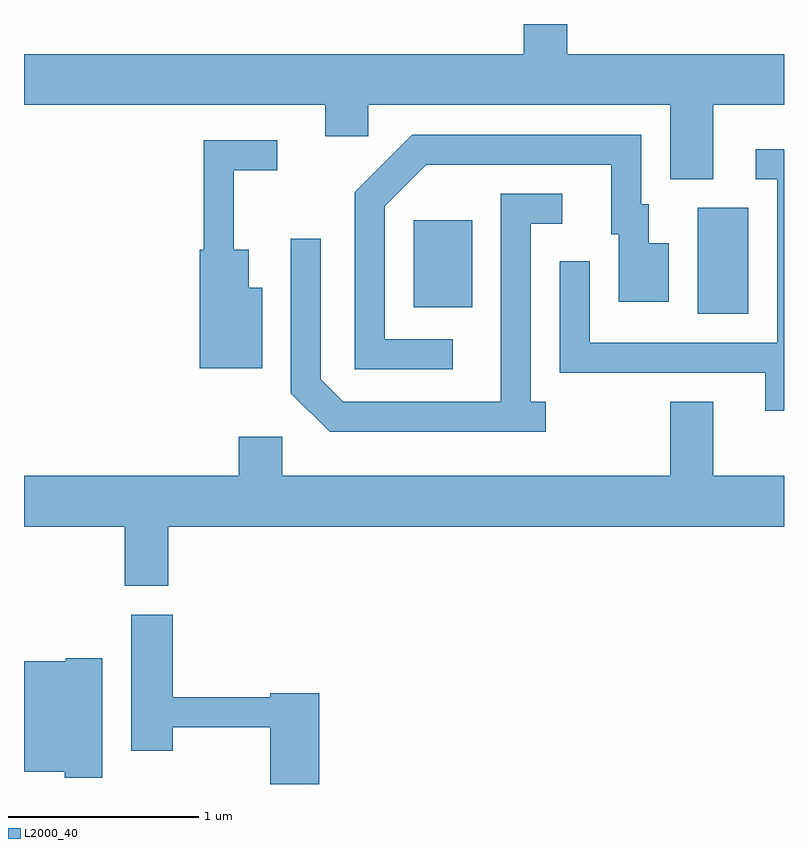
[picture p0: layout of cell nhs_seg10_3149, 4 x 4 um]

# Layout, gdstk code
import gdstk
lib = gdstk.Library(unit=1e-6, precision=1e-09)
def R(c, l, rs):  # rectangles x0, y0, x1, y1
    for r in rs: c.add(gdstk.rectangle(r[:2], r[2:], *l))
def P(c, l, *ps):  # polygons
    for p in ps: c.add(gdstk.Polygon(p, *l))
L2000_40 = (2000, 40)

nhs_seg10_3149 = lib.new_cell('nhs_seg10_3149')
R(nhs_seg10_3149, L2000_40, [(281.156,2154.996,281.424,2155.554), (279.661,2155.031,279.969,2155.489), (278.748,2156.521,280.089,2156.522)])
P(nhs_seg10_3149, L2000_40, [(281.239,2156.096),(281.611,2156.096),(281.611,2156.364),(280.469,2156.364),(280.469,2156.522),(280.241,2156.522),(280.241,2156.364),(277.611,2156.364),(277.611,2156.096),(279.196,2156.096),(279.196,2155.931),(279.424,2155.931),(279.424,2156.096),(281.011,2156.096),(281.011,2155.706),(281.239,2155.706)],
  [(279.868,2154.864),(279.509,2154.864),(279.509,2155.564),(279.727,2155.781),(280.701,2155.781),(280.701,2155.416),(280.741,2155.416),(280.741,2155.061),(281.004,2155.061),(281.004,2155.369),(280.899,2155.369),(280.899,2155.574),(280.859,2155.574),(280.859,2155.939),(279.654,2155.939),(279.351,2155.637),(279.351,2154.706),(279.868,2154.706)],
  [(278.864,2155.134),(278.794,2155.134),(278.794,2155.334),(278.714,2155.334),(278.714,2155.751),(278.943,2155.751),(278.943,2155.909),(278.556,2155.909),(278.556,2155.334),(278.536,2155.334),(278.536,2154.711),(278.864,2154.711)],
  [(281.611,2155.864),(281.463,2155.864),(281.463,2155.706),(281.576,2155.706),(281.576,2154.844),(280.589,2154.844),(280.589,2155.273),(280.431,2155.273),(280.431,2154.686),(281.511,2154.686),(281.511,2154.486),(281.611,2154.486)],
  [(280.358,2154.534),(280.279,2154.534),(280.279,2155.471),(280.443,2155.471),(280.443,2155.629),(280.121,2155.629),(280.121,2154.534),(279.292,2154.534),(279.174,2154.652),(279.174,2155.393),(279.016,2155.393),(279.016,2154.579),(279.219,2154.376),(280.358,2154.376)],
  [(278.369,2153.876),(281.611,2153.876),(281.611,2154.144),(281.239,2154.144),(281.239,2154.534),(281.011,2154.534),(281.011,2154.144),(278.969,2154.144),(278.969,2154.349),(278.741,2154.349),(278.741,2154.144),(277.611,2154.144),(277.611,2153.876),(278.141,2153.876),(278.141,2153.566),(278.369,2153.566)],
  [(279.164,2152.999),(278.906,2152.999),(278.906,2152.979),(278.394,2152.979),(278.394,2153.414),(278.176,2153.414),(278.176,2152.696),(278.394,2152.696),(278.394,2152.821),(278.906,2152.821),(278.906,2152.522),(279.164,2152.522)],
  [(278.024,2153.184),(277.83,2153.184),(277.83,2153.169),(277.611,2153.169),(277.611,2152.586),(277.826,2152.586),(277.826,2152.556),(278.024,2152.556)])

lib.write_gds('nhs_seg10_3149.gds')
